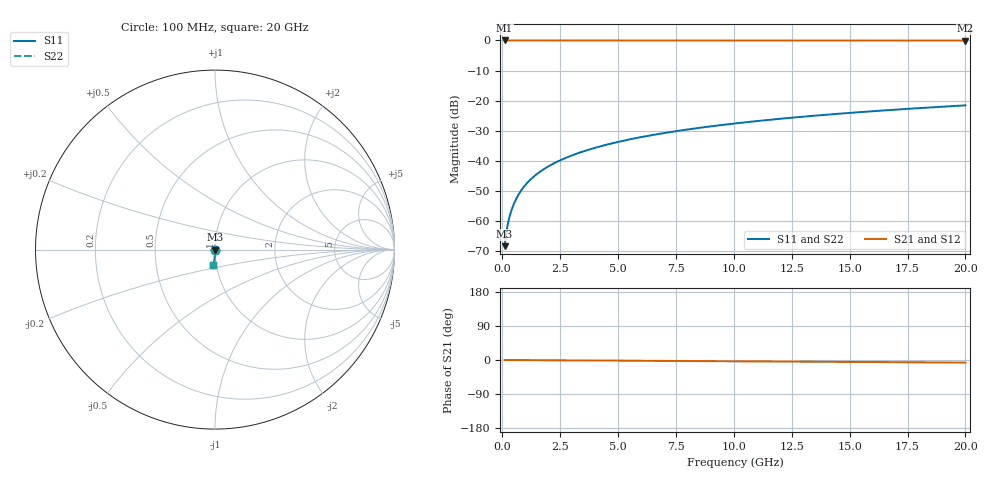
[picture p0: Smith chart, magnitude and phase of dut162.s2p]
! Touchstone file exported from HFSS 2026.1.0
!  File:  C:/ffzhzh/LocalFiles/Ansys_Project_Files/temp_train_TSV_162_1782990887_41620.aedt
!  Generated:  07:15:56 PM Jul  2, 2026
!  Design:  TSV
!  Project:  temp_train_TSV_162_1782990887_41620
! Variables:
!  h_bsmrdl = 2um
!  h_ox = 20um
!  h_rdl = 5um
!  h_sub = 50.36um
!  h_tmrdl = 5um
!  h_tsv = 50.36um
!  h_via = 3um
!  l_bsmrdl = 300um
!  l_sub = 419.94um
!  l_tmrdl = 200um
!  m_sub = 200um
!  pitch = 22.9um
!  r_tsv = 9.97um
!  s_tmrdl = 10um
!  w_bsmrdl = 18um
!  w_sub = 500um
!  w_tmrdl = 12um
!  x_tsv_center1 = 206um
!  x_tsv_center2 = 524um
!  x_tsv_center3 = 736um
!  x_tsv_center4 = 1054um
!  x_tsv_center5 = 1266um
!  x_tsv_center6 = 1584um
# GHz S MA R 50.000000
! Terminal data exported
! Port[1] = TSV1_1_T1
! Port[2] = TSV1_1_T2
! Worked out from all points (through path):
!   200 points, 100 MHz to 20 GHz, reference 50 ohm
!   highest |S21| = 0.00 dB at 100 MHz (marker M1); lowest = 0.0 dB at 20 GHz (marker M2)
!   lowest |S11| = -68.3 dB at 100 MHz (marker M3), VSWR 1.00, Z = 50 - j0.037 ohm
!   |S11| at or under -10 dB: start of sweep to end of sweep
!   |S22| runs from -68.3 to -21.5 dB; largest |S21 - S12| = 3.1e-15
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0.1  0.000385 -73.9  0.9999 -0.0  0.9999 -0.0  0.000385 -73.9
! Gamma 0 0 0 0
! Port Impedance 50 0 50 0
0.2  0.000756 -80.5  0.9999 -0.1  0.9999 -0.1  0.000756 -80.5
0.3  0.00114 -82.5  0.9998 -0.1  0.9998 -0.1  0.00114 -82.5
0.4  0.001535 -83.4  0.9998 -0.1  0.9998 -0.1  0.001535 -83.4
0.5  0.001938 -84.1  0.9998 -0.2  0.9998 -0.2  0.001938 -84.1
0.7  0.002758 -85.0  0.9997 -0.2  0.9997 -0.2  0.002758 -85.0
0.8  0.003172 -85.3  0.9997 -0.3  0.9997 -0.3  0.003172 -85.3
1  0.004004 -86.0  0.9997 -0.4  0.9997 -0.4  0.004004 -86.0
1.2  0.004836 -86.5  0.9997 -0.4  0.9997 -0.4  0.004836 -86.5
1.4  0.005669 -87.0  0.9996 -0.5  0.9996 -0.5  0.005669 -87.0
1.7  0.006917 -87.5  0.9996 -0.6  0.9996 -0.6  0.006917 -87.5
2  0.008165 -87.9  0.9996 -0.7  0.9996 -0.7  0.008165 -87.9
2.7  0.01108 -88.6  0.9995 -0.9  0.9995 -0.9  0.01108 -88.6
3.5  0.01441 -89.2  0.9994 -1.2  0.9994 -1.2  0.01441 -89.2
4.2  0.01734 -89.6  0.9993 -1.4  0.9993 -1.4  0.01734 -89.6
5  0.02069 -90.0  0.9992 -1.7  0.9992 -1.7  0.02069 -90.0
6.8  0.02825 -90.8  0.9989 -2.3  0.9989 -2.3  0.02825 -90.8
8.3  0.03456 -91.5  0.9986 -2.8  0.9986 -2.8  0.03456 -91.5
10.1  0.04214 -92.2  0.9982 -3.4  0.9982 -3.4  0.04214 -92.2
13.4  0.05602 -93.5  0.9974 -4.6  0.9974 -4.6  0.05602 -93.5
16.7  0.06986 -94.7  0.9964 -5.7  0.9964 -5.7  0.06986 -94.7
20  0.08368 -95.9  0.9952 -6.8  0.9952 -6.8  0.08368 -95.9
